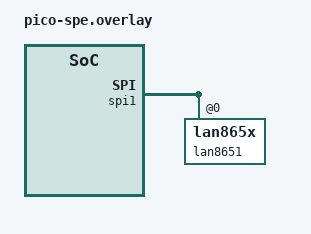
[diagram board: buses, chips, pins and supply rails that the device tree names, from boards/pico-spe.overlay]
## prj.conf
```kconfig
CONFIG_NETWORKING=y
CONFIG_NET_L2_ETHERNET=y
CONFIG_NET_IPV6=y
CONFIG_NET_IPV4=y
CONFIG_NET_ARP=y
CONFIG_NET_UDP=y
CONFIG_NET_DHCPV4=y
CONFIG_NET_DHCPV4_OPTION_CALLBACKS=y
CONFIG_DNS_RESOLVER=y

CONFIG_TEST_RANDOM_GENERATOR=y

CONFIG_INIT_STACKS=y

CONFIG_NET_MGMT=y
CONFIG_NET_MGMT_EVENT=y

CONFIG_NET_LOG=y
CONFIG_LOG=y

CONFIG_SLIP_STATISTICS=n
CONFIG_NET_SHELL=y
CONFIG_UART_CONSOLE=y
CONFIG_NET_ROUTE_MCAST=y       # Enable multicast routing (optional)

# CONFIG_NET_CONFIG_SETTINGS=y
# CONFIG_NET_CONFIG_MY_IPV4_ADDR="192.178.1.4"
# CONFIG_NET_CONFIG_MY_IPV4_NETMASK="255.255.255.0"
# CONFIG_NET_CONFIG_MY_IPV4_GW="192.178.1.1"
```

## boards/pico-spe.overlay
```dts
&spi1 {
    lan8651: lan865x@0 {
        local-mac-address = [CA 2F B7 10 23 95];
    };
};
```

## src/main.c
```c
/*
 * Copyright (c) 2017 ARM Ltd.
 * Copyright (c) 2016 Intel Corporation.
 *
 * SPDX-License-Identifier: Apache-2.0
 */

#include <zephyr/logging/log.h>
LOG_MODULE_REGISTER(net_dhcpv4_client_sample, LOG_LEVEL_DBG);

#include <zephyr/kernel.h>
#include <zephyr/linker/sections.h>
#include <errno.h>
#include <stdio.h>
#include <zephyr/usb/usb_device.h>
#include <zephyr/net/net_if.h>
#include <zephyr/net/net_core.h>
#include <zephyr/net/net_context.h>
#include <zephyr/net/net_mgmt.h>

#define DHCP_OPTION_NTP (42)

static uint8_t ntp_server[4];

static struct net_mgmt_event_callback mgmt_cb;

static struct net_dhcpv4_option_callback dhcp_cb;


static void start_dhcpv4_client(struct net_if *iface, void *user_data)
{
	ARG_UNUSED(user_data);

	LOG_INF("Start on %s: index=%d", net_if_get_device(iface)->name,
		net_if_get_by_iface(iface));
	net_dhcpv4_start(iface);
}

static void handler(struct net_mgmt_event_callback *cb,
	uint32_t mgmt_event,
	struct net_if *iface)
{
int i = 0;

if (mgmt_event != NET_EVENT_IPV4_ADDR_ADD) {
return;
}

for (i = 0; i < NET_IF_MAX_IPV4_ADDR; i++) {
char buf[NET_IPV4_ADDR_LEN];

if (iface->config.ip.ipv4->unicast[i].ipv4.addr_type !=
					NET_ADDR_DHCP) {
	continue;
}

LOG_INF("   Address[%d]: %s", net_if_get_by_iface(iface),
	net_addr_ntop(AF_INET,
		&iface->config.ip.ipv4->unicast[i].ipv4.address.in_addr,
				  buf, sizeof(buf)));
LOG_INF("    Subnet[%d]: %s", net_if_get_by_iface(iface),
	net_addr_ntop(AF_INET,
			   &iface->config.ip.ipv4->unicast[i].netmask,
			   buf, sizeof(buf)));
LOG_INF("    Router[%d]: %s", net_if_get_by_iface(iface),
	net_addr_ntop(AF_INET,
				 &iface->config.ip.ipv4->gw,
				 buf, sizeof(buf)));
LOG_INF("Lease time[%d]: %u seconds", net_if_get_by_iface(iface),
	iface->config.dhcpv4.lease_time);
}
}

static void option_handler(struct net_dhcpv4_option_callback *cb,
	   size_t length,
	   enum net_dhcpv4_msg_type msg_type,
	   struct net_if *iface)
{
char buf[NET_IPV4_ADDR_LEN];

LOG_INF("DHCP Option %d: %s", cb->option,
net_addr_ntop(AF_INET, cb->data, buf, sizeof(buf)));
}



int main(void)
{

	LOG_INF("Run SPE device with DHCP client");

	net_mgmt_init_event_callback(&mgmt_cb, handler,
		NET_EVENT_IPV4_ADDR_ADD);
	net_mgmt_add_event_callback(&mgmt_cb);

	net_dhcpv4_init_option_callback(&dhcp_cb, option_handler,
	   DHCP_OPTION_NTP, ntp_server,
	   sizeof(ntp_server));

	net_dhcpv4_add_option_callback(&dhcp_cb);

	net_if_foreach(start_dhcpv4_client, NULL);


	return 0;
	
}
```
